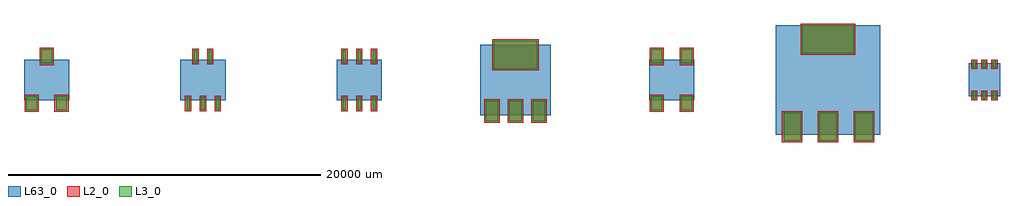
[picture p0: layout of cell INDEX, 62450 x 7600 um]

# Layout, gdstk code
import gdstk
lib = gdstk.Library(unit=1e-6, precision=1e-09)
def R(c, l, rs):  # rectangles x0, y0, x1, y1
    for r in rs: c.add(gdstk.rectangle(r[:2], r[2:], *l))
def A(c, l, x, y, w, h, nx, ny, dx, dy):  # array of equal rectangles
    R(c, l, [(x+i*dx, y+j*dy, x+i*dx+w, y+j*dy+h) for i in range(nx) for j in range(ny)])
L2_0 = (2, 0)
L3_0 = (3, 0)
L63_0 = (63, 0)

sot_23 = lib.new_cell('SOT-23')
R(sot_23, L2_0, [(-1400,-2050,-500,-950), (500,-2050,1400,-950), (-450,950,450,2050)])
R(sot_23, L3_0, [(-1300,-1950,-600,-1050), (600,-1950,1300,-1050), (-350,1050,350,1950)])
R(sot_23, L63_0, [(-1450,-1300,1450,1300)])
sot_23.add(gdstk.Label('SOT-23', (0,2200), layer=4, texttype=0))

sot_23_5 = lib.new_cell('SOT-23-5')
A(sot_23_5, L2_0, -1150, -2000, 400, 1000, 3, 1, 950, 0)
R(sot_23_5, L2_0, [(-675,1000,-275,2000), (275,1000,675,2000)])
A(sot_23_5, L3_0, -1050, -1900, 200, 800, 3, 1, 950, 0)
R(sot_23_5, L3_0, [(-575,1100,-375,1900), (375,1100,575,1900)])
R(sot_23_5, L63_0, [(-1450,-1300,1450,1300)])
sot_23_5.add(gdstk.Label('SOT-23-5', (0,2200), layer=4, texttype=0))

sot_23_6 = lib.new_cell('SOT-23-6')
A(sot_23_6, L2_0, -1150, -2000, 400, 1000, 3, 2, 950, 3000)
A(sot_23_6, L3_0, -1050, -1900, 200, 800, 3, 2, 950, 3000)
R(sot_23_6, L63_0, [(-1450,-1300,1450,1300)])
sot_23_6.add(gdstk.Label('SOT-23-6', (0,2200), layer=4, texttype=0))

sot_89 = lib.new_cell('SOT-89')
A(sot_89, L2_0, -2000, -2750, 1000, 1500, 3, 1, 1500, 0)
R(sot_89, L2_0, [(-1500,600,1500,2600)])
A(sot_89, L3_0, -1900, -2650, 800, 1300, 3, 1, 1500, 0)
R(sot_89, L3_0, [(-1400,700,1400,2500)])
R(sot_89, L63_0, [(-2250,-2250,2250,2250)])
sot_89.add(gdstk.Label('SOT-89', (0,3400), layer=4, texttype=0))

sot_143 = lib.new_cell('SOT-143')
R(sot_143, L2_0, [(-1400,-2050,-500,-950), (500,-2050,1400,-950), (-1400,950,-500,2050), (500,950,1400,2050)])
R(sot_143, L3_0, [(-1300,-1950,-600,-1050), (600,-1950,1300,-1050), (-1300,1050,-600,1950), (600,1050,1300,1950)])
R(sot_143, L63_0, [(-1450,-1300,1450,1300)])
sot_143.add(gdstk.Label('SOT-143', (0,2200), layer=4, texttype=0))

sot_223 = lib.new_cell('SOT-223')
A(sot_223, L2_0, -2950, -4000, 1300, 2000, 3, 1, 2300, 0)
R(sot_223, L2_0, [(-1750,1600,1750,3600)])
A(sot_223, L3_0, -2850, -3900, 1100, 1800, 3, 1, 2300, 0)
R(sot_223, L3_0, [(-1650,1700,1650,3500)])
R(sot_223, L63_0, [(-3350,-3500,3350,3500)])
sot_223.add(gdstk.Label('SOT-223', (0,5500), layer=4, texttype=0))

sot_363 = lib.new_cell('SOT-363')
A(sot_363, L2_0, -850, -1300, 400, 600, 3, 2, 650, 2000)
A(sot_363, L3_0, -750, -1200, 200, 400, 3, 2, 650, 2000)
R(sot_363, L63_0, [(-1000,-1050,1000,1050)])
sot_363.add(gdstk.Label('SOT-363', (0,1700), layer=4, texttype=0))

index = lib.new_cell('INDEX')
index.add(gdstk.Reference(sot_23, (0,0)))
index.add(gdstk.Reference(sot_23_5, (10000,0)))
index.add(gdstk.Reference(sot_23_6, (20000,0)))
index.add(gdstk.Reference(sot_89, (30000,0)))
index.add(gdstk.Reference(sot_143, (40000,0)))
index.add(gdstk.Reference(sot_223, (50000,0)))
index.add(gdstk.Reference(sot_363, (60000,0)))

lib.write_gds('INDEX.gds')
